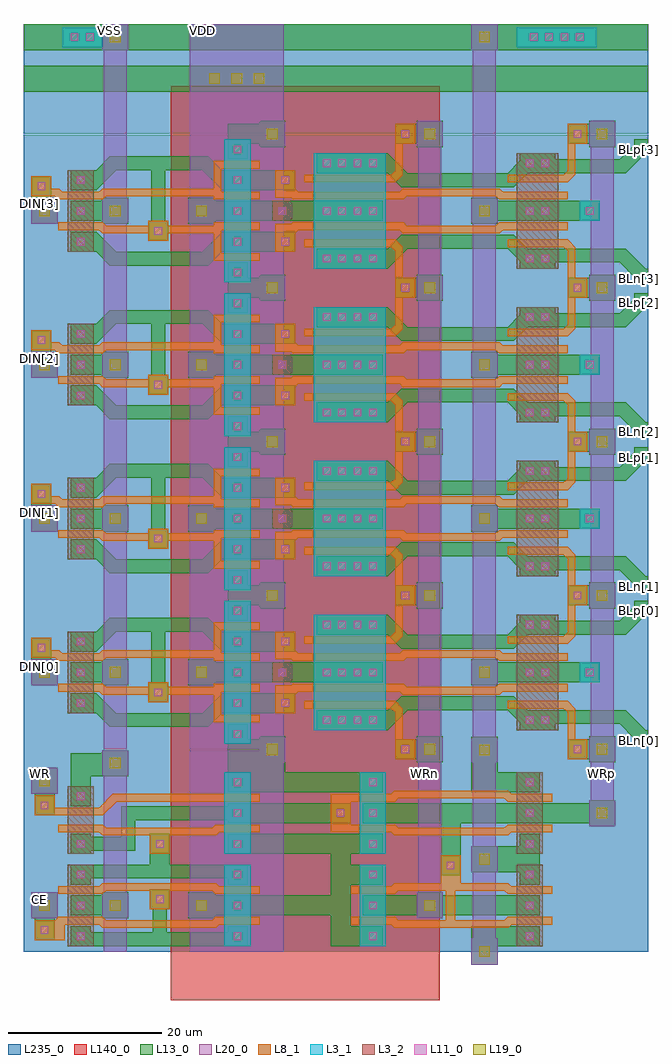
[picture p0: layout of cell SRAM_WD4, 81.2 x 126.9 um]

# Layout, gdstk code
from math import pi, radians
import gdstk
lib = gdstk.Library(unit=1e-6, precision=1e-09)
def R(c, l, rs):  # rectangles x0, y0, x1, y1
    for r in rs: c.add(gdstk.rectangle(r[:2], r[2:], *l))
def A(c, l, x, y, w, h, nx, ny, dx, dy):  # array of equal rectangles
    R(c, l, [(x+i*dx, y+j*dy, x+i*dx+w, y+j*dy+h) for i in range(nx) for j in range(ny)])
def P(c, l, *ps):  # polygons
    for p in ps: c.add(gdstk.Polygon(p, *l))
L3_1 = (3, 1)
L3_2 = (3, 2)
L8_1 = (8, 1)
L11_0 = (11, 0)
L13_0 = (13, 0)
L19_0 = (19, 0)
L20_0 = (20, 0)
L140_0 = (140, 0)
L235_0 = (235, 0)

sram_wd = lib.new_cell('SRAM_WD')
R(sram_wd, L3_1, [(13.6,-0.8,16.2,1.8), (7.4,27,22.4,36.4), (5.6,44.6,24.2,48)])
R(sram_wd, L3_2, [(7.4,4.6,22.4,10), (9.6,65,16.2,68.4), (13.6,65,20.2,68.4)])
P(sram_wd, L3_2, [(13.9,39.2),(13.6,39.5),(13.6,41.8),(16.2,41.8),(16.2,39.5),(15.9,39.2)])
P(sram_wd, L8_1, [(16.4,3.4),(16.4,12.3),(16.8,12.7),(16.8,24.3),(16.4,24.7),(16.4,39.1),(16.6,39.3),(16.6,41.4),(20.2,41.4),(20.2,38.8),(17.8,38.8),(17.4,38.4),(17.4,25.2),(17.8,24.8),(17.8,12.2),(17.4,11.8),(17.4,3.4)],
  [(12.4,3.4),(12.4,11.8),(12,12.2),(12,24.8),(12.4,25.2),(12.4,38.4),(12,38.8),(9.6,38.8),(9.6,41.4),(13.2,41.4),(13.2,39.3),(13.4,39.1),(13.4,24.7),(13,24.3),(13,12.7),(13.4,12.3),(13.4,3.4)],
  [(12.4,3.4),(12.4,11.8),(12,12.2),(12,24.8),(12.4,25.2),(12.4,38.4),(12,38.8),(9.6,38.8),(9.6,41.4),(13.2,41.4),(13.2,39.3),(13.4,39.1),(13.4,24.7),(13,24.3),(13,12.7),(13.4,12.3),(13.4,3.4)],
  [(23.6,0.8),(23.6,2.4),(19.6,2.4),(18.6,3.4),(18.6,11.2),(19.6,11.2),(19.6,3.9),(20.1,3.4),(26.2,3.4),(26.2,0.8)],
  [(3.6,0.8),(3.6,3.4),(9.7,3.4),(10.2,3.9),(10.2,11.2),(11.2,11.2),(11.2,3.4),(10.2,2.4),(6.2,2.4),(6.2,0.8)],
  [(23.6,23.2),(23.6,24.8),(19.6,24.8),(18.6,25.8),(18.6,37.6),(19.6,37.6),(19.6,26.3),(20.1,25.8),(26.2,25.8),(26.2,23.2)],
  [(3.6,23.2),(3.6,25.8),(9.7,25.8),(10.2,26.3),(10.2,37.6),(11.2,37.6),(11.2,25.8),(10.2,24.8),(6.2,24.8),(6.2,23.2)],
  [(8.4,43.4),(8.4,49.4),(12,49.4),(12,55.3),(11,55.3),(11,57.9),(12,57.9),(12,63.9),(12.4,64.3),(12.4,69.6),(13.4,69.6),(13.4,63.8),(13,63.4),(13,57.9),(13.6,57.9),(13.6,55.3),(13,55.3),(13,49.4),(13.4,49.4),(13.4,43.4),(12.4,43.4),(12.4,48.4),(9.4,48.4),(9.4,43.4)],
  [(16.4,43.4),(16.4,49.4),(16.8,49.4),(16.8,63.4),(16.4,63.8),(16.4,69.6),(16.8,70),(16.8,73.1),(19.4,73.1),(19.4,70.5),(17.8,70.5),(17.8,69.5),(17.4,69.1),(17.4,64.3),(17.8,63.9),(17.8,49.4),(21.4,49.4),(21.4,43.4),(20.4,43.4),(20.4,48.4),(17.4,48.4),(17.4,43.4)])
A(sram_wd, L11_0, 8.2, 5.8, 1, 1, 3, 2, 6.2, 2)
A(sram_wd, L11_0, 8.2, 28.2, 1, 1, 3, 4, 6.2, 2)
A(sram_wd, L11_0, 6.4, 45.8, 1, 1, 5, 1, 4, 0)
R(sram_wd, L11_0, [(14.4,0,15.4,1), (4.4,1.6,5.4,2.6), (24.4,1.6,25.4,2.6), (8.2,7.8,9.2,8.8), (8.2,7.8,9.2,8.8), (20.6,7.8,21.6,8.8), (20.6,7.8,21.6,8.8), (4.4,24,5.4,25), (24.4,24,25.4,25), (10.4,39.6,11.4,40.6), (18.4,39.6,19.4,40.6), (14.4,40,15.4,41), (11.8,56.1,12.8,57.1), (10.4,66.2,11.4,67.2), (14.4,66.2,15.4,67.2), (14.4,66.2,15.4,67.2), (18.4,66.2,19.4,67.2), (17.6,71.3,18.6,72.3)])
R(sram_wd, L13_0, [(4.9,45,8.2,47.6), (21.6,45,25,47.6)])
P(sram_wd, L13_0, [(23.2,40.1),(23.2,43.3),(23.4,43.5),(23.6,43.5),(23.6,47.6),(26.2,47.6),(26.2,43.5),(26.4,43.5),(26.6,43.3),(26.6,40.1)],
  [(3.2,40.1),(3.2,43.3),(3.4,43.5),(3.6,43.5),(3.6,47.6),(6.2,47.6),(6.2,43.5),(6.4,43.5),(6.6,43.3),(6.6,40.1)],
  [(23.2,-2.8),(23.2,0.6),(23.6,0.6),(23.6,3.4),(26.2,3.4),(26.2,0.6),(26.6,0.6),(26.6,-2.8)],
  [(3.2,-2.8),(3.2,0.6),(3.6,0.6),(3.6,3.4),(6.2,3.4),(6.2,0.6),(6.6,0.6),(6.6,-2.8)],
  [(13.6,-0.8),(13.6,12.5),(13.2,12.5),(13.2,15.9),(16.6,15.9),(16.6,12.5),(16.2,12.5),(16.2,-0.8)],
  [(23.2,19.6),(23.2,23),(23.6,23),(23.6,25.8),(26.2,25.8),(26.2,23),(26.6,23),(26.6,19.6)],
  [(3.2,19.6),(3.2,23),(3.6,23),(3.6,25.8),(6.2,25.8),(6.2,23),(6.6,23),(6.6,19.6)],
  [(22.4,-7.1),(22.4,-6.8),(19.8,-4.2),(19.8,8.6),(18,10.4),(18,25),(19.8,26.8),(19.8,36),(22.4,36),(22.4,26.8),(19.8,24.2),(19.8,11.2),(21.4,9.6),(22.4,9.6),(22.4,5),(21.6,5),(21.6,-3.4),(23.5,-5.3),(24.2,-5.3),(24.2,-7.1)],
  [(5.6,-7.1),(5.6,-5.3),(6.3,-5.3),(8.2,-3.4),(8.2,5),(7.4,5),(7.4,9.6),(8.4,9.6),(10,11.2),(10,24.2),(7.4,26.8),(7.4,36),(10,36),(10,26.8),(11.8,25),(11.8,10.4),(10,8.6),(10,-4.2),(7.4,-6.8),(7.4,-7.1)],
  [(13.6,27.4),(13.6,49.1),(13.2,49.5),(13.2,52.7),(16.6,52.7),(16.6,49.5),(16.2,49.1),(16.2,27.4)],
  [(17.6,38.8),(17.6,48.3),(20.2,50.9),(20.2,55.7),(13.6,55.7),(13.6,55.3),(11,55.3),(11,57.9),(13.6,57.9),(13.6,57.5),(20.2,57.5),(20.2,62.1),(17.6,64.7),(17.6,68),(20.2,68),(20.2,64.7),(22,62.9),(22,50.1),(20.2,48.3),(20.2,38.8)],
  [(13.2,60.5),(13.2,63.7),(13.6,64.1),(13.6,68),(16.2,68),(16.2,64.1),(16.6,63.7),(16.6,60.5)],
  [(9.6,38.8),(9.6,48.3),(7.8,50.1),(7.8,62.9),(9.6,64.7),(9.6,68),(12.2,68),(12.2,64.7),(9.6,62.1),(9.6,50.9),(12.2,48.3),(12.2,38.8)],
  [(13.2,69.7),(13.2,73.1),(19.4,73.1),(19.4,70.5),(16.6,70.5),(16.6,69.7)])
R(sram_wd, L19_0, [(4.2,-1.8,5.6,-0.4), (24.2,-1.8,25.6,-0.4), (14.2,13.5,15.6,14.9), (4.2,20.6,5.6,22), (24.2,20.6,25.6,22), (4.2,41.1,5.6,42.5), (24.2,41.1,25.6,42.5), (14.2,50.3,15.6,51.7), (14.2,61.5,15.6,62.9), (14.2,70.7,15.6,72.1)])
R(sram_wd, L20_0, [(13.2,69.7,16.6,73.1)])
P(sram_wd, L20_0, [(3.4,40.1),(3.2,40.3),(3.2,43.3),(3.4,43.5),(4.9,43.5),(4.9,52.5),(13.2,52.5),(13.4,52.7),(16.4,52.7),(16.6,52.5),(24.9,52.5),(24.9,43.5),(26.4,43.5),(26.6,43.3),(26.6,40.3),(26.4,40.1),(23.4,40.1),(23.2,40.3),(6.6,40.3),(6.4,40.1)],
  [(13.4,60.5),(13.2,60.7),(4.9,60.7),(4.9,63.7),(13.2,63.7),(13.4,63.9),(16.4,63.9),(16.6,63.7),(26.6,63.7),(26.6,60.7),(16.6,60.7),(16.4,60.5)],
  [(3.4,19.6),(3.2,19.8),(3.2,22.8),(3.4,23),(6.4,23),(6.6,22.8),(23.2,22.8),(23.4,23),(26.4,23),(26.6,22.8),(26.6,19.8),(26.4,19.6),(23.4,19.6),(23.2,19.8),(6.6,19.8),(6.4,19.6)],
  [(3.4,-2.8),(3.2,-2.6),(3.2,0.4),(3.4,0.6),(6.4,0.6),(6.6,0.4),(23.2,0.4),(23.4,0.6),(26.4,0.6),(26.6,0.4),(26.6,-2.6),(26.4,-2.8),(23.4,-2.8),(23.2,-2.6),(6.6,-2.6),(6.4,-2.8)],
  [(13.4,12.5),(13.2,12.7),(4.9,12.7),(4.9,15.7),(13.2,15.7),(13.4,15.9),(16.4,15.9),(16.6,15.7),(24.9,15.7),(24.9,12.7),(16.6,12.7),(16.4,12.5)])
R(sram_wd, L140_0, [(-1.4,20,31.2,55)])
R(sram_wd, L235_0, [(4.8,-7.1,24.8,74.1)])

cont_p_8 = lib.new_cell('cont_p$8')
R(cont_p_8, L3_1, [(-5.2,-1.3,5.2,1.3)])
A(cont_p_8, L11_0, -3.5, -0.5, 1, 1, 4, 1, 2, 0)
R(cont_p_8, L13_0, [(-4.3,-1.3,4.3,1.3)])

via_1_3 = lib.new_cell('via_1$3')
R(via_1_3, L13_0, [(-1.7,-1.7,1.7,1.7)])
R(via_1_3, L19_0, [(-0.7,-0.7,0.7,0.7)])
R(via_1_3, L20_0, [(-1.7,-1.7,1.7,1.7)])

via_1_6 = lib.new_cell('via_1$6')
R(via_1_6, L13_0, [(-6,-1.7,6,1.7)])
A(via_1_6, L19_0, -3.6, -0.7, 1.4, 1.4, 3, 1, 2.9, 0)
R(via_1_6, L20_0, [(-6,-1.7,6,1.7)])

cont_p_10 = lib.new_cell('cont_p$10')
R(cont_p_10, L3_1, [(-2.6,-1.3,2.6,1.3)])
R(cont_p_10, L11_0, [(-1.5,-0.5,-0.5,0.5), (0.5,-0.5,1.5,0.5)])
R(cont_p_10, L13_0, [(-2.3,-1.3,2.3,1.3)])

sram_wde = lib.new_cell('SRAM_WDE')
R(sram_wde, L13_0, [(-34.2,-74.1,-30.8,7.1), (-28.8,-74.1,-25.4,7.1)])
R(sram_wde, L20_0, [(-34.2,-63.7,-19.9,-60.7), (-34.2,-52.5,-19.9,-40.3), (-34.2,-15.7,-19.9,-12.7)])
R(sram_wde, L235_0, [(-34.2,-74.1,-19.9,7.1)])
sram_wde.add(gdstk.Reference(cont_p_8, (-32.5,-4.8), rotation=pi/2))
sram_wde.add(gdstk.Reference(via_1_3, (-32.5,-62.2), rotation=pi/2))
sram_wde.add(gdstk.Reference(via_1_3, (-32.5,-14.2), rotation=pi/2))
sram_wde.add(gdstk.Reference(via_1_6, (-27.1,-46.4), rotation=pi/2))
sram_wde.add(gdstk.Reference(cont_p_10, (-32.5,-66.5), rotation=pi/2))

sram_wrd = lib.new_cell('SRAM_WRD')
R(sram_wrd, L3_1, [(-16.9,2,-6.3,5.4), (-4.9,2,5.7,5.4), (-16.9,19.6,-6.3,23), (-4.9,19.6,5.7,23)])
R(sram_wrd, L3_2, [(-15.1,-18.4,-6.3,-15), (-4.9,-18.4,5.7,-15), (-16.9,40,-6.3,43.4), (-4.9,40,5.7,43.4)])
P(sram_wrd, L8_1, [(-2.1,18.4),(-2.1,23.7),(-2.5,24.1),(-2.5,30.1),(-6.1,30.1),(-6.1,32.7),(-2.5,32.7),(-2.5,38.9),(-2.1,39.3),(-2.1,44.6),(-1.1,44.6),(-1.1,38.8),(-1.5,38.4),(-1.5,32),(2.3,32),(2.3,38.4),(1.9,38.8),(1.9,44.6),(2.9,44.6),(2.9,39.3),(3.3,38.9),(3.3,24.1),(2.9,23.7),(2.9,18.4),(1.9,18.4),(1.9,24.2),(2.3,24.6),(2.3,30.8),(-1.5,30.8),(-1.5,24.6),(-1.1,24.2),(-1.1,18.4)],
  [(-13.9,-22.7),(-13.9,-20.1),(-12.3,-20.1),(-12.3,-14.3),(-14.1,-12.5),(-14.1,6.6),(-13.1,6.6),(-13.1,-12),(-11.3,-13.8),(-11.3,-22.7)],
  [(-10.1,-19.6),(-10.1,-13.8),(-9.7,-13.4),(-9.7,0.4),(-10.1,0.8),(-10.1,6.6),(-9.1,6.6),(-9.1,1.3),(-8.7,0.9),(-8.7,-5.1),(-6.3,-5.1),(-6.3,-7.7),(-8.7,-7.7),(-8.7,-13.9),(-9.1,-14.3),(-9.1,-19.6)],
  [(-2.1,-19.6),(-2.1,-14.3),(-2.5,-13.9),(-2.5,0.9),(-2.1,1.3),(-2.1,6.6),(-1.1,6.6),(-1.1,0.8),(-1.5,0.4),(-1.5,-5.1),(0.9,-5.1),(0.9,-7.7),(-1.5,-7.7),(-1.5,-13.4),(-1.1,-13.8),(-1.1,-19.6)],
  [(2.3,-22.7),(2.3,-20),(1.9,-19.6),(1.9,-13.8),(2.3,-13.4),(2.3,0.4),(1.9,0.8),(1.9,6.6),(2.9,6.6),(2.9,1.3),(3.3,0.9),(3.3,-13.9),(2.9,-14.3),(2.9,-18.8),(4.9,-18.8),(4.9,-22.7)],
  [(-14.1,15.8),(-14.1,23.7),(-14.5,24.1),(-14.5,38.9),(-14.1,39.3),(-14.1,44.6),(-13.1,44.6),(-13.1,38.8),(-13.5,38.4),(-13.5,24.6),(-13.1,24.2),(-13.1,18.4),(-10.1,18.4),(-10.1,24.2),(-9.7,24.6),(-9.7,38.4),(-10.1,38.8),(-10.1,44.6),(-9.1,44.6),(-9.1,39.3),(-8.7,38.9),(-8.7,24.1),(-9.1,23.7),(-9.1,15.8)])
A(sram_wrd, L11_0, -8.1, -17.2, 1, 1, 4, 1, 4, 0)
A(sram_wrd, L11_0, -16.1, 3.2, 1, 1, 6, 2, 4, 17.6)
A(sram_wrd, L11_0, -16.1, 41.2, 1, 1, 6, 1, 4, 0)
R(sram_wrd, L11_0, [(-13.1,-21.9,-12.1,-20.9), (3.1,-21.9,4.1,-20.9), (-14.3,-17.2,-13.3,-16.2), (-8.1,-6.9,-7.1,-5.9), (-0.9,-6.9,0.1,-5.9), (-12.1,16.6,-11.1,17.6), (-5.3,30.9,-4.3,31.9)])
R(sram_wrd, L13_0, [(-1.3,-13.9,2.1,-10.5), (-21.1,5,-16.9,9.9)])
P(sram_wrd, L13_0, [(-19.4,-18),(-19.4,-14.1),(-19.8,-13.7),(-19.8,-10.5),(-16.4,-10.5),(-16.4,-15.4),(-12.5,-15.4),(-12.5,-18)],
  [(-21.1,2.4),(-21.1,5),(-16.9,5),(-16.9,22.6),(-14.3,22.6),(-14.3,2.4)],
  [(-1.3,-23.1),(-1.3,-19.7),(2.1,-19.7),(2.1,-20.1),(4.9,-20.1),(4.9,-22.7),(2.1,-22.7),(2.1,-23.1)],
  [(-0.9,-18),(-0.9,-14.1),(-1.3,-13.7),(-1.3,-10.5),(2.1,-10.5),(2.1,-13.7),(1.7,-14.1),(1.7,-18)],
  [(-4.9,-18),(-4.9,-7.7),(-8.9,-7.7),(-8.9,-5.1),(-4.9,-5.1),(-4.9,5),(-2.3,5),(-2.3,2.4),(-3.1,2.4),(-3.1,-15.4),(-2.3,-15.4),(-2.3,-18)],
  [(3.1,-18),(3.1,-15.4),(3.9,-15.4),(3.9,-7.3),(0.9,-7.3),(0.9,-7.7),(-1.7,-7.7),(-1.7,-5.1),(0.9,-5.1),(0.9,-5.5),(3.9,-5.5),(3.9,2.4),(3.1,2.4),(3.1,5),(5.7,5),(5.7,-18)],
  [(-8.9,-18),(-8.9,-15.4),(-8.5,-15.4),(-8.5,-11.4),(-12.5,-11.4),(-12.5,2.4),(-12.9,2.4),(-12.9,18.4),(-10.3,18.4),(-10.3,2.4),(-10.7,2.4),(-10.7,-9.6),(-6.7,-9.6),(-6.7,-15.4),(-6.3,-15.4),(-6.3,-18)],
  [(-1.3,-2.7),(-1.3,0.5),(-0.9,0.9),(-0.9,15.8),(-6.3,15.8),(-6.3,2.4),(-8.9,2.4),(-8.9,22.6),(-6.3,22.6),(-6.3,18.4),(-4.9,18.4),(-4.9,22.6),(-2.3,22.6),(-2.3,18.4),(3.1,18.4),(3.1,22.6),(5.7,22.6),(5.7,15.8),(1.7,15.8),(1.7,0.9),(2.1,0.5),(2.1,-2.7)],
  [(-21.5,34.1),(-21.5,37.5),(-16.9,37.5),(-16.9,43),(-14.3,43),(-14.3,34.1)],
  [(-7.3,34.1),(-7.3,40.4),(-8.9,40.4),(-8.9,43),(-2.3,43),(-2.3,40.4),(-3.9,40.4),(-3.9,34.1)],
  [(3.1,34.1),(3.1,43),(5.7,43),(5.7,37.5),(8.1,37.5),(8.1,34.1)],
  [(-0.9,20),(-0.9,27),(-1.3,27),(-1.3,30.4),(-0.9,30.4),(-0.9,43),(1.7,43),(1.7,30.4),(2.1,30.4),(2.1,27),(1.7,27),(1.7,20)],
  [(-12.9,20),(-12.9,49.4),(-13.3,49.4),(-13.3,52.8),(-9.9,52.8),(-9.9,49.4),(-10.3,49.4),(-10.3,32.7),(-3.5,32.7),(-3.5,30.1),(-10.3,30.1),(-10.3,20)],
  [(-17.5,-23.1),(-17.5,-19.7),(-14.1,-19.7),(-14.1,-20.1),(-11.3,-20.1),(-11.3,-22.7),(-14.1,-22.7),(-14.1,-23.1)])
R(sram_wrd, L19_0, [(-16.5,-22.1,-15.1,-20.7), (-0.3,-22.1,1.1,-20.7), (-18.8,-12.9,-17.4,-11.5), (-0.3,-12.9,1.1,-11.5), (-0.3,-12.9,1.1,-11.5), (-0.3,-1.7,1.1,-0.3), (-20.5,7.5,-19.1,8.9), (-0.3,28,1.1,29.4), (-20.5,35.1,-19.1,36.5), (-6.3,35.1,-4.9,36.5), (5.7,35.1,7.1,36.5), (-12.3,50.4,-10.9,51.8)])
R(sram_wrd, L20_0, [(-17.5,-23.1,-14.1,-19.7), (-1.3,-23.1,2.1,-19.7)])
P(sram_wrd, L20_0, [(-19.8,-13.9),(-19.8,-10.5),(-16.6,-10.5),(-16.4,-10.7),(-1.3,-10.7),(-1.1,-10.5),(1.9,-10.5),(2.1,-10.7),(6.4,-10.7),(6.4,-13.7),(2.1,-13.7),(1.9,-13.9),(-1.1,-13.9),(-1.3,-13.7),(-16.4,-13.7),(-16.6,-13.9)],
  [(-1.1,-2.7),(-1.3,-2.5),(-19.8,-2.5),(-19.8,6.5),(-21.5,6.5),(-21.5,9.7),(-21.3,9.9),(-18.3,9.9),(-18.1,9.7),(6.4,9.7),(6.4,-2.5),(2.1,-2.5),(1.9,-2.7)],
  [(-1.3,27),(-1.3,27.2),(-19.8,27.2),(-19.8,30.2),(-1.3,30.2),(-1.3,30.4),(2.1,30.4),(2.1,27)],
  [(-21.3,34.1),(-21.5,34.3),(-21.5,37.3),(-21.3,37.5),(-18.3,37.5),(-18.1,37.3),(-7.3,37.3),(-7.3,37.5),(-3.9,37.5),(-3.9,37.3),(4.7,37.3),(4.7,37.5),(8.1,37.5),(8.1,34.1),(4.7,34.1),(4.7,34.3),(-3.9,34.3),(-3.9,34.1),(-7.3,34.1),(-7.3,34.3),(-18.1,34.3),(-18.3,34.1)],
  [(-13.3,49.4),(-13.3,49.6),(-19.8,49.6),(-19.8,52.6),(-13.3,52.6),(-13.3,52.8),(-9.9,52.8),(-9.9,49.4)])
P(sram_wrd, L140_0, [(-23.9,-5),(-23.9,30),(-8.7,30),(12.7,30),(12.7,-5)])
R(sram_wrd, L235_0, [(-19.8,-24.1,6.4,57.1)])

sram_wd4 = lib.new_cell('SRAM_WD4')
r = gdstk.Reference(sram_wd, (0,0), rotation=pi/2); r.repetition = gdstk.Repetition(4, 1, v1=(0,20), v2=(0,0)); sram_wd4.add(r)
sram_wd4.add(gdstk.Reference(sram_wde, (0,65), rotation=3*pi/2))
sram_wd4.add(gdstk.Reference(sram_wrd, (-50,-15), rotation=3*pi/2))
sram_wd4.add(gdstk.Label('DIN[0]', (-72.1,15.6), layer=49, texttype=0))
sram_wd4.add(gdstk.Label('DIN[1]', (-72.1,35.7), layer=49, texttype=0))
sram_wd4.add(gdstk.Label('DIN[2]', (-72.1,55.7), layer=49, texttype=0))
sram_wd4.add(gdstk.Label('DIN[3]', (-72.1,75.8), layer=49, texttype=0))
sram_wd4.add(gdstk.Label('WR', (-72.1,1.7), layer=49, texttype=0))
sram_wd4.add(gdstk.Label('CE', (-72.1,-14.6), layer=49, texttype=0))
sram_wd4.add(gdstk.Label('WRp', (1,1.7), layer=49, texttype=0))
sram_wd4.add(gdstk.Label('WRn', (-22,1.7), layer=49, texttype=0))
sram_wd4.add(gdstk.Label('VSS', (-62.9,98.3), layer=49, texttype=0))
sram_wd4.add(gdstk.Label('VDD', (-50.8,98.3), layer=49, texttype=0))
sram_wd4.add(gdstk.Label('BLp[0]', (5.9,22.9), layer=48, texttype=0))
sram_wd4.add(gdstk.Label('BLn[0]', (5.9,6.1), layer=48, texttype=0))
sram_wd4.add(gdstk.Label('BLp[1]', (5.9,42.8), layer=48, texttype=0))
sram_wd4.add(gdstk.Label('BLn[1]', (5.9,26), layer=48, texttype=0))
sram_wd4.add(gdstk.Label('BLp[2]', (5.9,63), layer=48, texttype=0))
sram_wd4.add(gdstk.Label('BLn[2]', (5.9,46.2), layer=48, texttype=0))
sram_wd4.add(gdstk.Label('BLp[3]', (5.9,82.9), layer=48, texttype=0))
sram_wd4.add(gdstk.Label('BLn[3]', (5.9,66.1), layer=48, texttype=0))

lib.write_gds('SRAM_WD4.gds')
